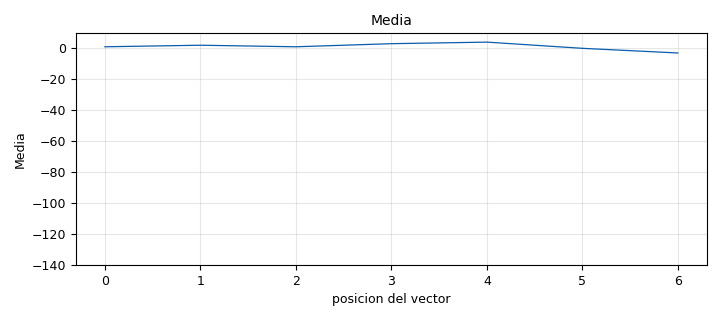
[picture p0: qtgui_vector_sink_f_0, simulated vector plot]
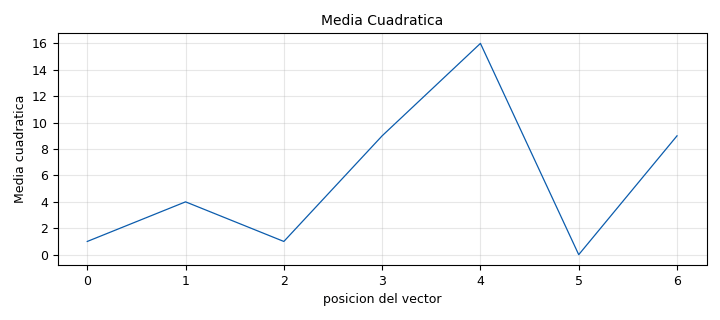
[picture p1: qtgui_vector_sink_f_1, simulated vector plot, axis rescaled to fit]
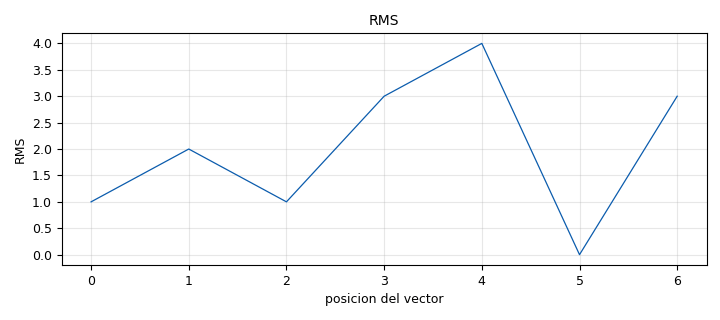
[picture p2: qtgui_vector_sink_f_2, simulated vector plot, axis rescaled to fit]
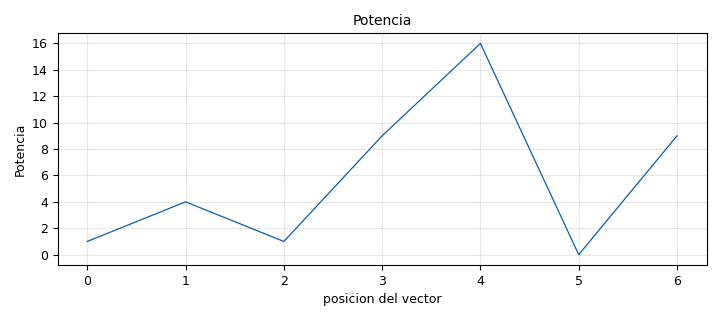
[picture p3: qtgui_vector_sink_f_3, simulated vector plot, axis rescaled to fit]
options:
  parameters:
    generate_options: qt_gui
    id: practica1_vectores_fix
    output_language: python
  states: {}

blocks:
- name: blocks_vector_source_x_0
  id: blocks_vector_source_x
  parameters:
    repeat: 'True'
    type: float
    vector: (1,2,1,3,4,0,-3)
    vlen: '7'
  states: {}
- name: epy_block_0
  id: epy_block
  parameters:
    _source_code: |
      import numpy as np
      from gnuradio import gr

      class blk(gr.sync_block):
          def __init__(self, vlen=7):
              gr.sync_block.__init__(
                  self,
                  name="Promedios_de_tiempos",
                  in_sig=[(np.float32, vlen)],
                  out_sig=[
                      (np.float32, vlen),
                      (np.float32, vlen),
                      (np.float32, vlen),
                      (np.float32, vlen),
                      (np.float32, vlen)
                  ]
              )

              self.acum = np.zeros(vlen)
              self.acum2 = np.zeros(vlen)
              self.Ntotales = 0

          def work(self, input_items, output_items):
              x = input_items[0]

              y0 = output_items[0]
              y1 = output_items[1]
              y2 = output_items[2]
              y3 = output_items[3]
              y4 = output_items[4]

              n_items = x.shape[0]

              for i in range(n_items):
                  xi = x[i]

                  self.Ntotales += 1
                  self.acum += xi
                  self.acum2 += xi**2

                  media = self.acum / self.Ntotales
                  media_cuad = self.acum2 / self.Ntotales

                  rms = np.sqrt(media_cuad)
                  potencia = media_cuad

                  var = np.maximum(media_cuad - media**2, 0)
                  std = np.sqrt(var)

                  y0[i] = media
                  y1[i] = media_cuad
                  y2[i] = rms
                  y3[i] = potencia
                  y4[i] = std

              return n_items
    vlen: '7'
  states: {}
- name: qtgui_vector_sink_f_0
  id: qtgui_vector_sink_f
  parameters:
    name: Media
    vlen: '7'
    x_axis_label: '"posicion del vector"'
    x_start: '0'
    x_step: '1'
    y_axis_label: '"Media"'
  states: {}
- name: qtgui_vector_sink_f_1
  id: qtgui_vector_sink_f
  parameters:
    name: Media Cuadratica
    vlen: '7'
    x_axis_label: '"posicion del vector"'
    x_start: '0'
    x_step: '1'
    y_axis_label: '"Media cuadratica"'
  states: {}
- name: qtgui_vector_sink_f_2
  id: qtgui_vector_sink_f
  parameters:
    name: RMS
    vlen: '7'
    x_axis_label: '"posicion del vector"'
    x_start: '0'
    x_step: '1'
    y_axis_label: '"RMS"'
  states: {}
- name: qtgui_vector_sink_f_3
  id: qtgui_vector_sink_f
  parameters:
    name: Potencia
    vlen: '7'
    x_axis_label: '"posicion del vector"'
    x_start: '0'
    x_step: '1'
    y_axis_label: '"Potencia"'
  states: {}
- name: qtgui_vector_sink_f_4
  id: qtgui_vector_sink_f
  parameters:
    name: Desviacion
    vlen: '7'
    x_axis_label: '"posicion del vector"'
    x_start: '0'
    x_step: '1'
  states: {}

connections:
- [blocks_vector_source_x_0, '0', epy_block_0, '0']
- [epy_block_0, '0', qtgui_vector_sink_f_0, '0']
- [epy_block_0, '1', qtgui_vector_sink_f_1, '0']
- [epy_block_0, '2', qtgui_vector_sink_f_2, '0']
- [epy_block_0, '3', qtgui_vector_sink_f_3, '0']
- [epy_block_0, '4', qtgui_vector_sink_f_4, '0']

metadata:
  file_format: 1
  grc_version: 3.10.12.0
